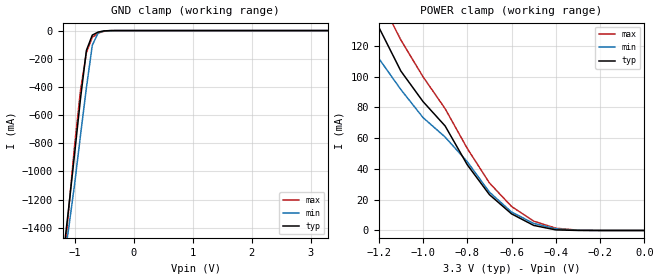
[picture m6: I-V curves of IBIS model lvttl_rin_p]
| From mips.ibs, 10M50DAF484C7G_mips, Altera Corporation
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|MODEL lvttl_rin_p
[Model]   lvttl_rin_p
Model_type   Input
Polarity   Non-Inverting
Vinl   = 0.800
Vinh   = 1.700
C_comp 4.5pF   4.5pF   4.5pF
[Model Spec]
Vinh   1.700   1.700   1.700
Vinl   0.800   0.800   0.800
[Temperature Range]   25   85   0
[Voltage Range]   3.300   3.085   3.465
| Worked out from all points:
|   GND clamp passes 1 mA (typ) near -0.44 V on its own axis
|   POWER clamp passes 1 mA (typ) near -0.42 V on its own axis
[GND Clamp]
| voltage   I (typ)   I (min)   I (max)
-3.3V     -8.634A    -7.734A    -10.13A
-1.2V     -1.626A    -1.688A    -1.731A
-1.1V     -1.26A     -1.403A    -1.274A
-1V       -875.9mA   -1.092A    -816.4mA
-900mV    -483.9mA   -744.2mA   -425.4mA
-800mV    -141.1mA   -407.2mA   -157mA
-700mV    -32.06mA   -104.2mA   -47.74mA
-600mV    -10.6mA    -15.57mA   -17.79mA
-500mV    -2.181mA   -3.118mA   -5.472mA
-400mV    -180.7uA   -399.8uA   -1.032mA
3.3V      0A         0A         0A
[Power Clamp]
| voltage   I (typ)   I (min)   I (max)
-3.3V     557.2mA    479.9mA    642.4mA
-1.4V     165.1mA    143.8mA    193.2mA
-1.3V     145.9mA    126mA      171.4mA
-1.2V     132.2mA    111.9mA    152.2mA
-1.1V     103.6mA    91.57mA    123.8mA
-1V       83.77mA    73.38mA    99.91mA
-900mV    67.9mA     60.7mA     79.13mA
-800mV    42.69mA    44.68mA    53.29mA
-700mV    23.3mA     24.96mA    30.9mA
-600mV    10.8mA     11.98mA    15.6mA
-400mV    388.6uA    1.05mA     1.475mA
0V        0A         0A         0A
